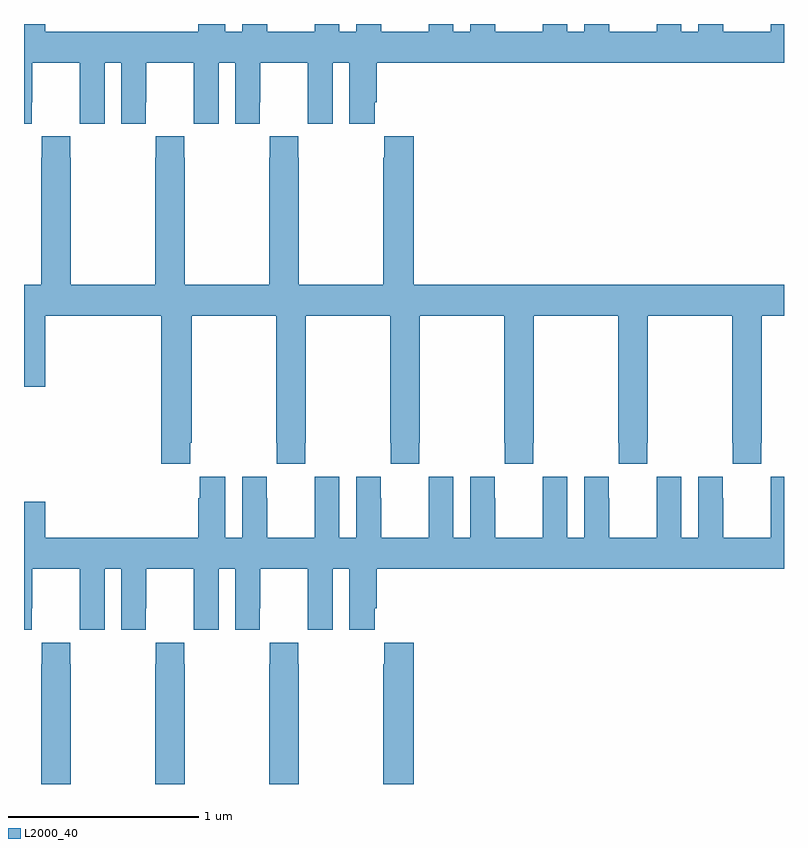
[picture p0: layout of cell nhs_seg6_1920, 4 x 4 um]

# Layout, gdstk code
import gdstk
lib = gdstk.Library(unit=1e-6, precision=1e-09)
def P(c, l, *ps):  # polygons
    for p in ps: c.add(gdstk.Polygon(p, *l))
L2000_40 = (2000, 40)

nhs_seg6_1920 = lib.new_cell('nhs_seg6_1920')
P(nhs_seg6_1920, L2000_40, [(225.042,987.088),(225.043,987.088),(225.043,987.296),(225.293,987.296),(225.293,987.088),(225.294,987.088),(225.294,986.976),(225.424,986.976),(225.424,987.296),(225.512,987.296),(225.512,986.976),(225.642,986.976),(225.642,987.088),(225.643,987.088),(225.643,987.296),(225.893,987.296),(225.893,987.088),(225.894,987.088),(225.894,986.976),(226.024,986.976),(226.024,987.296),(226.112,987.296),(226.112,986.976),(226.242,986.976),(226.242,987.088),(226.243,987.088),(226.243,987.296),(226.493,987.296),(226.493,987.088),(226.494,987.088),(226.494,986.976),(226.624,986.976),(226.624,987.296),(226.712,987.296),(226.712,986.976),(226.846,986.976),(226.846,987.088),(226.856,987.088),(226.856,987.296),(229,987.296),(229,987.5),(228.929,987.5),(228.929,987.46),(228.679,987.46),(228.679,987.5),(228.548,987.5),(228.548,987.46),(228.46,987.46),(228.46,987.5),(228.329,987.5),(228.329,987.46),(228.079,987.46),(228.079,987.5),(227.948,987.5),(227.948,987.46),(227.86,987.46),(227.86,987.5),(227.729,987.5),(227.729,987.46),(227.479,987.46),(227.479,987.5),(227.348,987.5),(227.348,987.46),(227.26,987.46),(227.26,987.5),(227.129,987.5),(227.129,987.46),(226.879,987.46),(226.879,987.5),(226.748,987.5),(226.748,987.46),(226.66,987.46),(226.66,987.5),(226.529,987.5),(226.529,987.46),(226.279,987.46),(226.279,987.5),(226.148,987.5),(226.148,987.46),(226.06,987.46),(226.06,987.5),(225.917,987.5),(225.917,987.46),(225.112,987.46),(225.112,987.5),(225,987.5),(225,986.976),(225.042,986.976)],
  [(225.875,985.297),(225.882,985.297),(225.882,985.964),(226.327,985.964),(226.327,985.297),(226.329,985.297),(226.329,985.185),(226.479,985.185),(226.479,985.297),(226.482,985.297),(226.482,985.964),(226.927,985.964),(226.927,985.297),(226.929,985.297),(226.929,985.185),(227.079,985.185),(227.079,985.297),(227.082,985.297),(227.082,985.964),(227.527,985.964),(227.527,985.297),(227.529,985.297),(227.529,985.185),(227.679,985.185),(227.679,985.297),(227.682,985.297),(227.682,985.964),(228.127,985.964),(228.127,985.297),(228.129,985.297),(228.129,985.185),(228.279,985.185),(228.279,985.297),(228.282,985.297),(228.282,985.964),(228.727,985.964),(228.727,985.297),(228.729,985.297),(228.729,985.185),(228.879,985.185),(228.879,985.297),(228.882,985.297),(228.882,985.964),(229,985.964),(229,986.128),(227.051,986.128),(227.051,986.908),(226.897,986.908),(226.897,986.795),(226.891,986.795),(226.891,986.128),(226.446,986.128),(226.446,986.795),(226.443,986.795),(226.443,986.908),(226.293,986.908),(226.293,986.795),(226.291,986.795),(226.291,986.128),(225.846,986.128),(225.846,986.795),(225.843,986.795),(225.843,986.908),(225.693,986.908),(225.693,986.795),(225.691,986.795),(225.691,986.128),(225.246,986.128),(225.246,986.795),(225.243,986.795),(225.243,986.908),(225.093,986.908),(225.093,986.795),(225.091,986.795),(225.091,986.128),(225,986.128),(225,985.59),(225.112,985.59),(225.112,985.964),(225.722,985.964),(225.722,985.185),(225.875,985.185)],
  [(226.242,984.424),(226.243,984.424),(226.243,984.632),(226.493,984.632),(226.493,984.424),(226.494,984.424),(226.494,984.312),(226.624,984.312),(226.624,984.632),(226.712,984.632),(226.712,984.312),(226.846,984.312),(226.846,984.424),(226.856,984.424),(226.856,984.632),(229,984.632),(229,985.117),(228.93,985.117),(228.93,985.004),(228.929,985.004),(228.929,984.796),(228.679,984.796),(228.679,985.004),(228.678,985.004),(228.678,985.117),(228.548,985.117),(228.548,984.796),(228.46,984.796),(228.46,985.117),(228.33,985.117),(228.33,985.004),(228.329,985.004),(228.329,984.796),(228.079,984.796),(228.079,985.004),(228.078,985.004),(228.078,985.117),(227.948,985.117),(227.948,984.796),(227.86,984.796),(227.86,985.117),(227.73,985.117),(227.73,985.004),(227.729,985.004),(227.729,984.796),(227.479,984.796),(227.479,985.004),(227.478,985.004),(227.478,985.117),(227.348,985.117),(227.348,984.796),(227.26,984.796),(227.26,985.117),(227.13,985.117),(227.13,985.004),(227.129,985.004),(227.129,984.796),(226.879,984.796),(226.879,985.004),(226.878,985.004),(226.878,985.117),(226.748,985.117),(226.748,984.796),(226.66,984.796),(226.66,985.117),(226.53,985.117),(226.53,985.004),(226.529,985.004),(226.529,984.796),(226.279,984.796),(226.279,985.004),(226.278,985.004),(226.278,985.117),(226.148,985.117),(226.148,984.796),(226.06,984.796),(226.06,985.117),(225.926,985.117),(225.926,985.004),(225.917,985.004),(225.917,984.796),(225.112,984.796),(225.112,984.985),(225,984.985),(225,984.312),(225.042,984.312),(225.042,984.424),(225.043,984.424),(225.043,984.632),(225.293,984.632),(225.293,984.424),(225.294,984.424),(225.294,984.312),(225.424,984.312),(225.424,984.632),(225.512,984.632),(225.512,984.312),(225.642,984.312),(225.642,984.424),(225.643,984.424),(225.643,984.632),(225.893,984.632),(225.893,984.424),(225.894,984.424),(225.894,984.312),(226.024,984.312),(226.024,984.632),(226.112,984.632),(226.112,984.312),(226.242,984.312)],
  [(227.051,984.244),(226.897,984.244),(226.897,984.131),(226.891,984.131),(226.891,983.5),(227.051,983.5)],
  [(226.446,984.131),(226.443,984.131),(226.443,984.244),(226.293,984.244),(226.293,984.131),(226.291,984.131),(226.291,983.5),(226.446,983.5)],
  [(225.846,984.131),(225.843,984.131),(225.843,984.244),(225.693,984.244),(225.693,984.131),(225.691,984.131),(225.691,983.5),(225.846,983.5)],
  [(225.246,984.131),(225.243,984.131),(225.243,984.244),(225.093,984.244),(225.093,984.131),(225.091,984.131),(225.091,983.5),(225.246,983.5)])

lib.write_gds('nhs_seg6_1920.gds')
